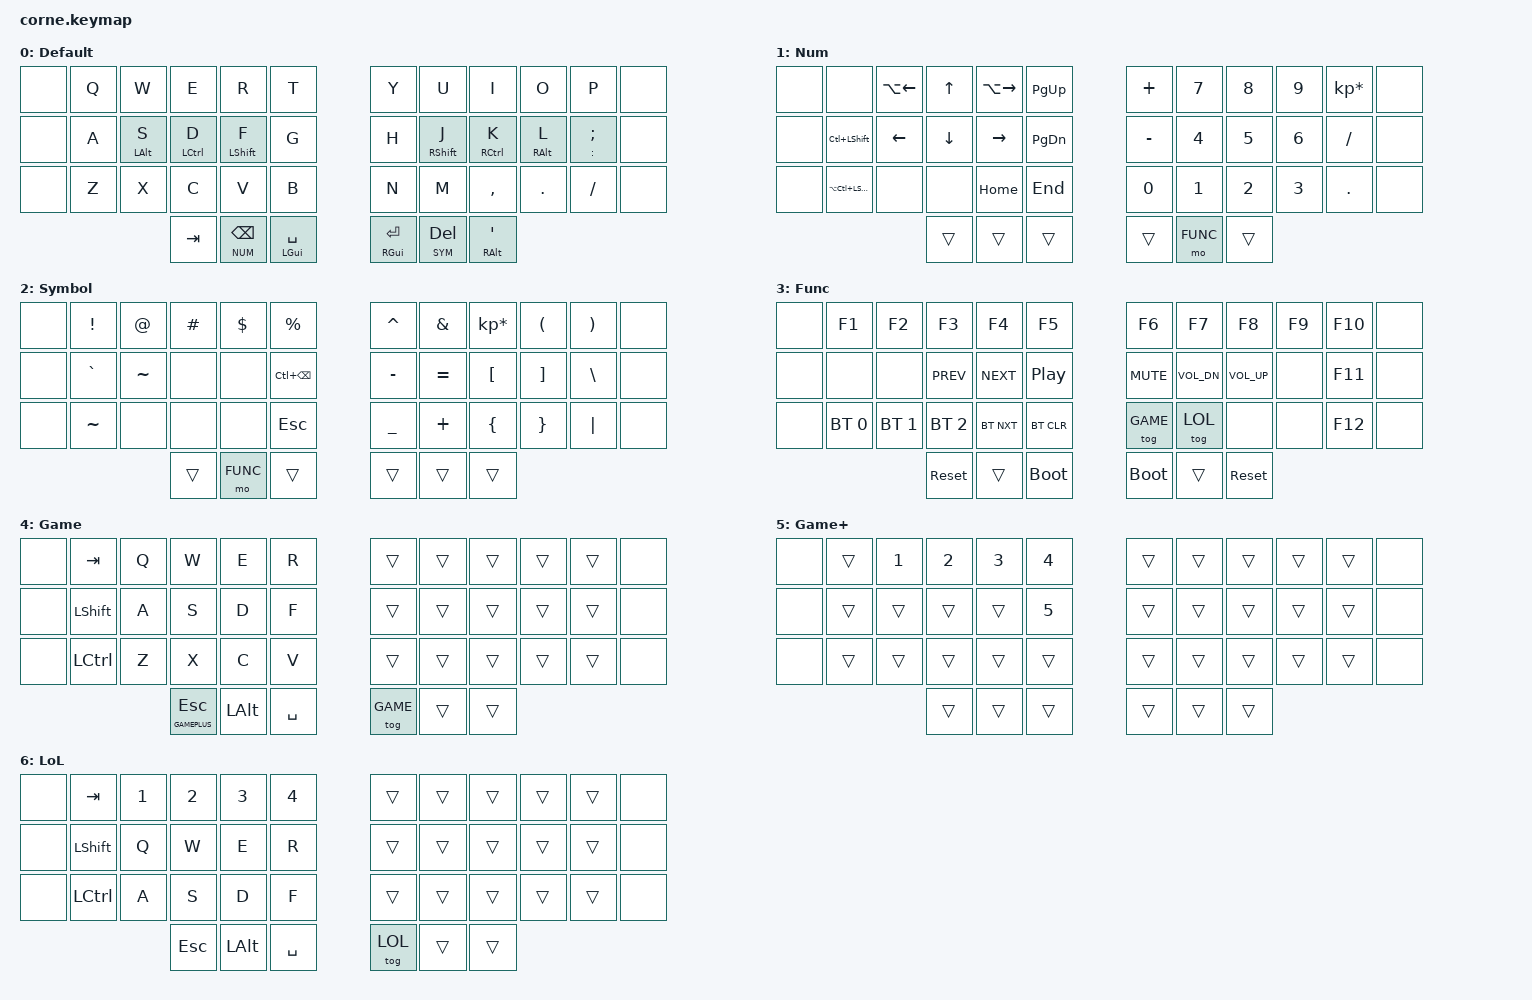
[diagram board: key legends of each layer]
/*
 * Copyright (c) 2020 The ZMK Contributors
 *
 * SPDX-License-Identifier: MIT
 */

#include <dt-bindings/zmk/keys.h>
#include <dt-bindings/zmk/bt.h>
#include <dt-bindings/zmk/ext_power.h>
#include <behaviors.dtsi>

// LAYERS
#define DEFAULT 0
#define NUM     1
#define SYM     2
#define FUNC    3
#define GAME    4
#define GAMEPLUS 5
#define LOL     6

// MACROS
#define SUPER LC(LSHIFT)
#define SUPER2 LA(LC(LSHIFT))

&mt {
  tapping-term-ms = <200>;
  flavor = "tap-preferred";
};

/ {
  behaviors {
    hm: homerow_mods {
      compatible = "zmk,behavior-hold-tap";
      label = "HOMEROW_MODS";
      #binding-cells = <2>;
      tapping-term-ms = <200>;
      quick-tap-ms = <0>;
      flavor = "tap-preferred";
      bindings = <&kp>, <&kp>;
    };

    td1: tap_dance_1 {
      compatible = "zmk,behavior-tap-dance";
      label = "TAP_DANCE_1";
      #binding-cells = <0>;
      tapping-term-ms = <200>;
      bindings = <&mt LCTRL TAB>, <&kp ESC>;
    };
  };

  combos {
    compatible = "zmk,combos";
    combo_cword {
      timeout-ms = <50>;
      key-positions = <16 19>;
      bindings = <&caps_word>;
    };

    combo_vimwq {
      timeout-ms = <50>;
      key-positions = <1 2>;
      bindings = <&vim_quit>;
    };
  };

  macros {
    vim_quit: vim_quit {
      label = "ZM_vim_quit";
      compatible = "zmk,behavior-macro";
      #binding-cells = <0>;
      bindings = <&macro_tap &kp ESC &kp COLON &kp W &kp Q>;
    };
  };

  keymap {
    compatible = "zmk,keymap";

    default_layer {
      display-name = "Default";
      bindings = <

&none  /**/  &kp Q  &kp W       &kp E        &kp R           &kp T  /**/  &kp Y    &kp U         &kp I        &kp O       &kp P          /**/  &none
&none  /**/  &kp A  &hm LALT S  &hm LCTRL D  &hm LSHIFT F    &kp G  /**/  &kp H    &hm RSHIFT J  &hm RCTRL K  &hm RALT L  &hm COLON SEMI /**/  &none
&none  /**/  &kp Z  &kp X       &kp C        &kp V           &kp B  /**/  &kp N    &kp M         &kp COMMA    &kp DOT     &kp FSLH       /**/  &none
                              &kp TAB  &lt NUM BSPC &mt LGUI SPACE  /**/  &mt RGUI RET &lt SYM DEL &mt RALT SQT

      >;
    };

    num_layer {
      display-name = "Num";
      bindings = <

&none  /**/  &none       &kp LA(LEFT)  &kp UP    &kp LA(RIGHT) &kp PG_UP  /**/  &kp PLUS   &kp N7  &kp N8  &kp N9  &kp KP_MULTIPLY  /**/  &none
&none  /**/  &kp SUPER   &kp LEFT      &kp DOWN  &kp RIGHT     &kp PG_DN  /**/  &kp MINUS  &kp N4  &kp N5  &kp N6  &kp SLASH        /**/  &none
&none  /**/  &kp SUPER2  &none         &none     &kp HOME      &kp END    /**/  &kp N0     &kp N1  &kp N2  &kp N3  &kp DOT          /**/  &none
                                                  &trans  &trans  &trans  /**/  &trans  &mo FUNC  &trans

      >;
    };

    sym_layer {
      display-name = "Symbol";
      bindings = <

&none  /**/  &kp EXCL   &kp AT     &kp HASH  &kp DLLR  &kp PRCNT    /**/  &kp CARET &kp AMPS  &kp KP_MULTIPLY &kp LPAR &kp RPAR  /**/  &none
&none  /**/  &kp GRAVE  &kp TILDE  &none     &none     &kp LC(BSPC) /**/  &kp MINUS &kp EQUAL &kp LBKT        &kp RBKT &kp BSLH  /**/  &none
&none  /**/  &kp TILDE  &none      &none     &none     &kp ESC      /**/  &kp UNDER &kp PLUS  &kp LBRC        &kp RBRC &kp PIPE  /**/  &none
                                            &trans &mo FUNC &trans  /**/  &trans &trans &trans

      >;
    };

    func_layer {
      display-name = "Func";
      bindings = <

&none  /**/  &kp F1        &kp F2        &kp F3        &kp F4     &kp F5            /**/  &kp F6      &kp F7       &kp F8       &kp F9   &kp F10  /**/  &none
&none  /**/  &none         &none         &kp C_PREV    &kp C_NEXT &kp C_PLAY_PAUSE  /**/  &kp C_MUTE  &kp C_VOL_DN &kp C_VOL_UP &none    &kp F11  /**/  &none
&none  /**/  &bt BT_SEL 0  &bt BT_SEL 1  &bt BT_SEL 2  &bt BT_NXT &bt BT_CLR        /**/  &tog GAME   &tog LOL     &none        &none    &kp F12  /**/  &none
                                                     &sys_reset &trans &bootloader  /**/  &bootloader &trans &sys_reset

      >;
    };

    game_layer {
      display-name = "Game";
      bindings = <

&none  /**/  &kp TAB     &kp Q  &kp W  &kp E  &kp R /**/  &trans &trans &trans &trans &trans /**/ &none
&none  /**/  &kp LSHIFT  &kp A  &kp S  &kp D  &kp F /**/  &trans &trans &trans &trans &trans /**/ &none
&none  /**/  &kp LCTRL   &kp Z  &kp X  &kp C  &kp V /**/  &trans &trans &trans &trans &trans /**/ &none
              &lt GAMEPLUS ESC  &kp LALT &kp SPACE  /**/  &tog GAME &trans &trans

      >;
    };

    gameplus_layer {
      display-name = "Game+";
      bindings = <

&none  /**/  &trans  &kp N1  &kp N2  &kp N3  &kp N4 /**/  &trans &trans &trans &trans &trans /**/ &none
&none  /**/  &trans  &trans  &trans  &trans  &kp N5 /**/  &trans &trans &trans &trans &trans /**/ &none
&none  /**/  &trans  &trans  &trans  &trans  &trans /**/  &trans &trans &trans &trans &trans /**/ &none
                             &trans  &trans &trans  /**/  &trans &trans &trans

      >;
    };

    lol_layer {
      display-name = "LoL";
      bindings = <

&none  /**/  &kp TAB   &kp N1    &kp N2  &kp N3  &kp N4 /**/  &trans &trans &trans &trans &trans /**/ &none
&none  /**/  &kp LSHIFT  &kp Q    &kp W   &kp E   &kp R  /**/  &trans &trans &trans &trans &trans /**/ &none
&none  /**/  &kp LCTRL &kp A  &kp S   &kp D   &kp F  /**/  &trans &trans &trans &trans &trans /**/ &none
                           &kp ESC &kp LALT &kp SPACE   /**/  &tog LOL &trans &trans

      >;
    };
  };
};
